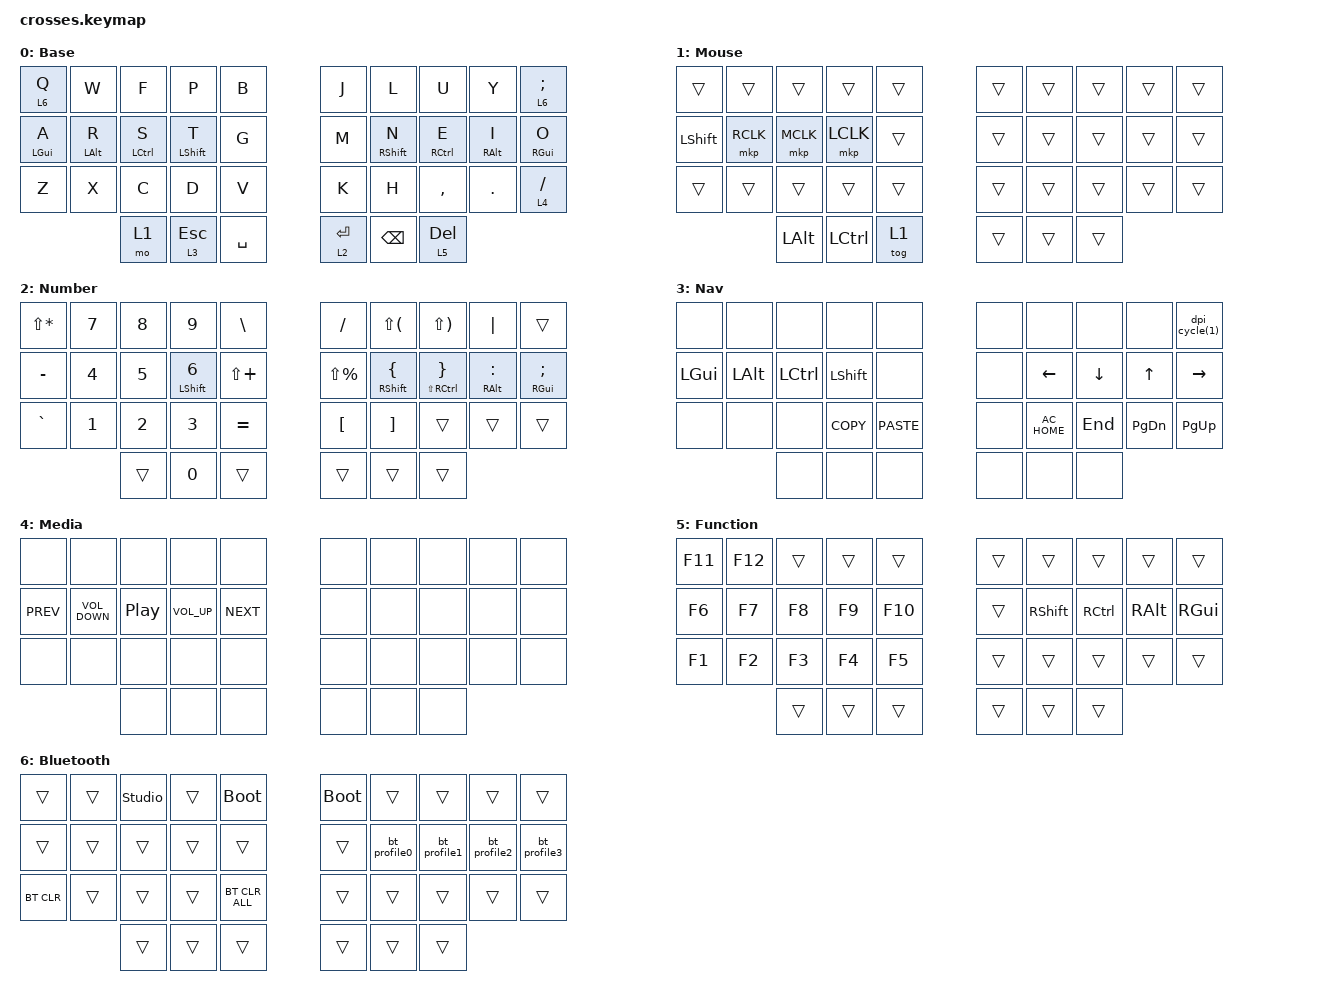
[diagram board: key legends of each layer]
#include <behaviors.dtsi>
#include <dt-bindings/zmk/bt.h>
#include <dt-bindings/zmk/keys.h>
#include <dt-bindings/zmk/outputs.h>
#include <dt-bindings/zmk/pointing.h>

/ {
    chosen {
        zmk,physical-layout = &gggw_crosses_36_layout;
    };

    behaviors {
#if defined(CONFIG_ZMK_SPLIT_ROLE_CENTRAL)
        // Behaviour to cycle through DPI values on a keypress
        dpi_cycle: sensor_dpi_cycle {
            compatible = "zmk,behavior-sensor-attr-cycle";
            #binding-cells = <1>;
            values = <100 300 600 900 1200>;
            attr = <0>;
            sensor_device = <&trackball_central>;
            display-name = "DPI cycle";
            persistant;
        };
#else
        // Stub on peripheral so &dpi_cycle(1) resolves; trackball_central only exists on central.
        dpi_cycle: dpi_cycle_stub {
            compatible = "zmk,behavior-macro-one-param";
            #binding-cells = <1>;
            bindings = <&none>;
        };
#endif
        hml: hml {
            compatible = "zmk,behavior-hold-tap";
            label = "HML";
            bindings = <&kp>, <&kp>;

            #binding-cells = <2>;
            tapping-term-ms = <200>;
            quick-tap-ms = <175>;
            require-prior-idle-ms = <150>;
            hold-trigger-on-release;
            hold-trigger-key-positions = <30 31 32 33 34 35 9 19 29 8 9 18 19 28 29 7 17 27 15 5 25 6 16 26>;
            flavor = "balanced";
        };

        hmr: hmr {
            compatible = "zmk,behavior-hold-tap";
            label = "HMR";
            bindings = <&kp>, <&kp>;

            #binding-cells = <2>;
            tapping-term-ms = <200>;
            quick-tap-ms = <175>;
            require-prior-idle-ms = <150>;
            flavor = "balanced";
            hold-trigger-on-release;
            hold-trigger-key-positions = <30 31 32 33 34 35 4 14 24 3 13 23 2 12 22 1 11 21 0 10 20>;
        };
    };

    combos {
        compatible = "zmk,combos";

        s_arr {
            bindings = <&skinny_arrow>;
            key-positions = <13 16>;
        };

        f_arr {
            bindings = <&fat_arrow>;
            key-positions = <13 16 17>;
        };

        p_ipe {
            bindings = <&pipe>;
            key-positions = <22 27>;
        };

        s_vim {
            bindings = <&save_vim>;
            key-positions = <1 32>;
        };

        caps {
            bindings = <&caps_word>;
            key-positions = <23 26>;
        };

        under {
            bindings = <&kp UNDERSCORE>;
            key-positions = <27 28>;
        };

        min {
            bindings = <&kp MINUS>;
            key-positions = <27 26>;
        };

        tabby {
            bindings = <&kp TAB>;
            key-positions = <1 8>;
        };

        studio {
            bindings = <&studio_unlock>;
            key-positions = <0 9>;
        };

        s_quote {
            bindings = <&kp SINGLE_QUOTE>;
            key-positions = <2 7>;
        };

        d_quote {
            bindings = <&kp DOUBLE_QUOTES>;
            key-positions = <3 6>;
        };
    };

    macros {
        skinny_arrow: skinny_arrow {
            compatible = "zmk,behavior-macro";
            #binding-cells = <0>;
            bindings = <&kp MINUS &kp GREATER_THAN>;
            label = "SKINNY_ARROW";
        };

        fat_arrow: fat_arrow {
            compatible = "zmk,behavior-macro";
            #binding-cells = <0>;
            bindings = <&kp EQUAL &kp GREATER_THAN>;
            label = "FAT_ARROW";
        };

        pipe: pipe {
            compatible = "zmk,behavior-macro";
            #binding-cells = <0>;
            bindings = <&kp PIPE &kp GREATER_THAN>;
            label = "PIPE";
        };

        save_vim: save_vim {
            compatible = "zmk,behavior-macro";
            #binding-cells = <0>;
            bindings = <&kp ESCAPE &kp COLON &kp W &kp ENTER>;
            label = "SAVE_VIM";
        };

        bt_profile0: bt_profile0 {
            compatible = "zmk,behavior-macro";
            #binding-cells = <0>;
            bindings = <&out OUT_BLE &bt BT_SEL 0>;
            label = "BT_PROFILE0";
        };

        bt_profile1: bt_profile1 {
            compatible = "zmk,behavior-macro";
            #binding-cells = <0>;
            bindings = <&out OUT_BLE &bt BT_SEL 1>;
            label = "BT_PROFILE1";
        };

        bt_profile2: bt_profile3 {
            compatible = "zmk,behavior-macro";
            #binding-cells = <0>;
            bindings = <&out OUT_BLE &bt BT_SEL 2>;
            label = "BT_PROFILE3";
        };

        bt_profile3: bt_profile4 {
            compatible = "zmk,behavior-macro";
            #binding-cells = <0>;
            bindings = <&out OUT_BLE &bt BT_SEL 3>;
            label = "BT_PROFILE4";
        };
    };

    keymap {
        compatible = "zmk,keymap";

        default_layer {
            display-name = "Base";
            bindings = <
&lt 6 Q          &kp W            &kp F         &kp P              &kp B      &kp J        &kp L               &kp U         &kp Y             &lt 6 SEMI
&hml LEFT_GUI A  &hml LEFT_ALT R  &hml LCTRL S  &hml LEFT_SHIFT T  &kp G      &kp M        &hmr RIGHT_SHIFT N  &hmr RCTRL E  &hmr RIGHT_ALT I  &hmr RIGHT_GUI O
&kp Z            &kp X            &kp C         &kp D              &kp V      &kp K        &kp H               &kp COMMA     &kp DOT           &lt 4 SLASH
                                  &mo 1         &lt 3 ESCAPE       &kp SPACE  &lt 2 ENTER  &kp BACKSPACE       &lt 5 DELETE
            >;
        };

        mouse {
            display-name = "Mouse";
            bindings = <
&trans          &trans     &trans        &trans     &trans  &trans  &trans  &trans  &trans  &trans
&kp LEFT_SHIFT  &mkp RCLK  &mkp MCLK     &mkp LCLK  &trans  &trans  &trans  &trans  &trans  &trans
&trans          &trans     &trans        &trans     &trans  &trans  &trans  &trans  &trans  &trans
                           &kp LEFT_ALT  &kp LCTRL  &tog 1  &trans  &trans  &trans
            >;
        };

        num {
            display-name = "Number";
            bindings = <
&kp LS(STAR)  &kp N7  &kp N8  &kp N9              &kp BSLH      &kp FSLH       &kp LS(LPAR)           &kp LS(RPAR)         &kp PIPE              &trans
&kp MINUS     &kp N4  &kp N5  &hml LEFT_SHIFT N6  &kp LS(PLUS)  &kp LS(PRCNT)  &hmr RIGHT_SHIFT LBRC  &hmr LS(RCTRL) RBRC  &hmr RIGHT_ALT COLON  &hmr RIGHT_GUI SEMICOLON
&kp GRAVE     &kp N1  &kp N2  &kp N3              &kp EQUAL     &kp LBKT       &kp RBKT               &trans               &trans                &trans
                      &trans  &kp N0              &trans        &trans         &trans                 &trans
            >;
        };

        nav {
            display-name = "Nav";
            bindings = <
&none     &none     &none      &none       &none        &none  &none           &none           &none          &dpi_cycle(1)
&kp LGUI  &kp LALT  &kp LCTRL  &kp LSHFT   &none        &none  &kp LEFT_ARROW  &kp DOWN_ARROW  &kp UP_ARROW   &kp RIGHT_ARROW
&none     &none     &none      &kp K_COPY  &kp K_PASTE  &none  &kp C_AC_HOME   &kp END         &kp PAGE_DOWN  &kp PAGE_UP
                    &none      &none       &none        &none  &none           &none
            >;
        };

        media {
            display-name = "Media";
            bindings = <
&none       &none              &none             &none            &none       &none  &none  &none  &none  &none
&kp C_PREV  &kp C_VOLUME_DOWN  &kp C_PLAY_PAUSE  &kp C_VOLUME_UP  &kp C_NEXT  &none  &none  &none  &none  &none
&none       &none              &none             &none            &none       &none  &none  &none  &none  &none
                               &none             &none            &none       &none  &none  &none
            >;
        };

        func {
            display-name = "Function";
            bindings = <
&kp F11  &kp F12  &trans  &trans  &trans   &trans  &trans     &trans     &trans    &trans
&kp F6   &kp F7   &kp F8  &kp F9  &kp F10  &trans  &kp RSHFT  &kp RCTRL  &kp RALT  &kp RGUI
&kp F1   &kp F2   &kp F3  &kp F4  &kp F5   &trans  &trans     &trans     &trans    &trans
                  &trans  &trans  &trans   &trans  &trans     &trans
            >;
        };

        BT {
            display-name = "Bluetooth";
            bindings = <
&trans      &trans  &studio_unlock  &trans  &bootloader     &bootloader  &trans        &trans        &trans        &trans
&trans      &trans  &trans          &trans  &trans          &trans       &bt_profile0  &bt_profile1  &bt_profile2  &bt_profile3
&bt BT_CLR  &trans  &trans          &trans  &bt BT_CLR_ALL  &trans       &trans        &trans        &trans        &trans
                    &trans          &trans  &trans          &trans       &trans        &trans
            >;
        };
    };
};
